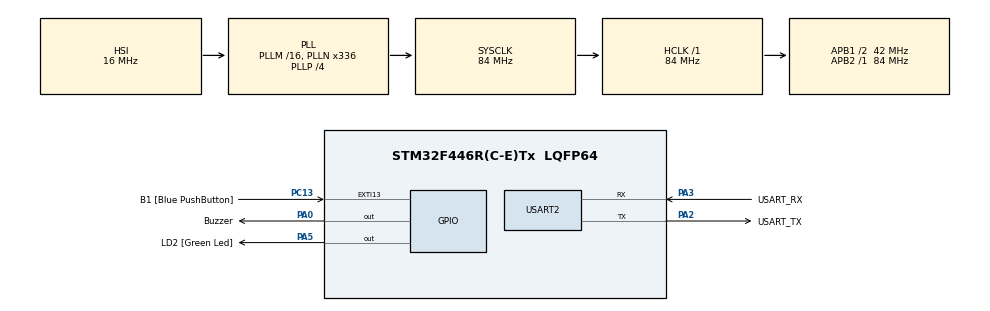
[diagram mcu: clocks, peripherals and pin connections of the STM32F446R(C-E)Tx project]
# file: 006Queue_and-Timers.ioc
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Mcu.Family=STM32F4
Mcu.Name=STM32F446R(C-E)Tx
Mcu.Package=LQFP64
NVIC.PriorityGroup=NVIC_PRIORITYGROUP_4
NVIC.TIM6_DAC_IRQn=true\:0\:0\:false\:false\:true\:false\:true
NVIC.TimeBase=TIM6_DAC_IRQn
NVIC.TimeBaseIP=TIM6
NVIC.USART2_IRQn=true\:6\:0\:true\:false\:true\:true\:true
PA0-WKUP.GPIO_Label=Buzzer
PA0-WKUP.Signal=GPIO_Output
PA13.GPIO_Label=TMS
PA13.Signal=SYS_JTMS-SWDIO
PA14.GPIO_Label=TCK
PA14.Signal=SYS_JTCK-SWCLK
PA2.GPIO_Label=USART_TX
PA2.Mode=Asynchronous
PA2.Signal=USART2_TX
PA3.GPIO_Label=USART_RX
PA3.Mode=Asynchronous
PA3.Signal=USART2_RX
PA5.GPIO_Label=LD2 [Green Led]
PA5.Signal=GPIO_Output
PB3.GPIO_Label=SWO
PB3.Signal=SYS_JTDO-SWO
PC13.GPIO_Label=B1 [Blue PushButton]
PC13.GPIO_ModeDefaultEXTI=GPIO_MODE_IT_FALLING
PC13.Signal=GPXTI13
PC14-OSC32_IN.Signal=RCC_OSC32_IN
PC15-OSC32_OUT.Signal=RCC_OSC32_OUT
PH0-OSC_IN.Signal=RCC_OSC_IN
PH1-OSC_OUT.Signal=RCC_OSC_OUT
ProjectManager.HeapSize=0x200
ProjectManager.StackSize=0x400
ProjectManager.TargetToolchain=STM32CubeIDE
RCC.AHBFreq_Value=84000000
RCC.APB1CLKDivider=RCC_HCLK_DIV2
RCC.APB1Freq_Value=42000000
RCC.APB1TimFreq_Value=84000000
RCC.APB2Freq_Value=84000000
RCC.APB2TimFreq_Value=84000000
RCC.CortexFreq_Value=84000000
RCC.FLatency-AdvancedSettings=FLASH_LATENCY_2
RCC.HCLKFreq_Value=84000000
RCC.HSE_VALUE=8000000
RCC.HSI_VALUE=16000000
RCC.LSE_VALUE=32768
RCC.PLLN=336
RCC.PLLP=RCC_PLLP_DIV4
RCC.SYSCLKFreq_VALUE=84000000
RCC.SYSCLKSource=RCC_SYSCLKSOURCE_PLLCLK
RCC.USBFreq_Value=168000000
RCC.VCOOutputFreq_Value=336000000
RTC.HourFormat=RTC_HOURFORMAT_12
USART2.VirtualMode=VM_ASYNC
VP_RTC_VS_RTC_Activate.Mode=RTC_Enabled
VP_SYS_VS_tim6.Mode=TIM6
board=NUCLEO-F446RE

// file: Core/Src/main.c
/* USER CODE BEGIN Header */
/**
  ******************************************************************************
  * @file           : main.c
  * @brief          : Main program body
  ******************************************************************************
  * @attention
  *
  * <h2><center>&copy; Copyright (c) 2021 STMicroelectronics.
  * All rights reserved.</center></h2>
  *
  * This software component is licensed by ST under BSD 3-Clause license,
  * the "License"; You may not use this file except in compliance with the
  * License. You may obtain a copy of the License at:
  *                        opensource.org/licenses/BSD-3-Clause
  *
  ******************************************************************************
  */
/* USER CODE END Header */
#include "main.h"

RTC_HandleTypeDef hrtc;

UART_HandleTypeDef huart2;

/* USER CODE BEGIN PV */
xTaskHandle handle_menu_task;
xTaskHandle handle_cmd_task;
xTaskHandle handle_print_task;
xTaskHandle handle_led_task;
xTaskHandle handle_rtc_task;

QueueHandle_t q_data;
QueueHandle_t q_print;

volatile uint8_t user_data;
uint8_t dummy;

TimerHandle_t handle_led_timer[4];

state_t curr_state = sMainMenu;
/* USER CODE END PV */

void SystemClock_Config(void);
static void MX_GPIO_Init(void);
static void MX_RTC_Init(void);
static void MX_USART2_UART_Init(void);

int main(void)
{
  /* USER CODE BEGIN 1 */
	BaseType_t status;

  /* USER CODE END 1 */

  /* MCU Configuration--------------------------------------------------------*/

  /* Reset of all peripherals, Initializes the Flash interface and the Systick. */
  HAL_Init();

  /* Configure the system clock */
  SystemClock_Config();

  /* Initialize all configured peripherals */
  MX_GPIO_Init();
  MX_RTC_Init();
  MX_USART2_UART_Init();
  /* USER CODE BEGIN 2 */

  	status = xTaskCreate(menu_task, "menu_task", 250, NULL, 2, &handle_menu_task);
	configASSERT(status == pdPASS);

	status = xTaskCreate(cmd_handler_task, "cmd_task", 250, NULL, 2, &handle_cmd_task);
	configASSERT(status == pdPASS);

	status = xTaskCreate(print_task, "print_task", 250, NULL, 2, &handle_print_task);
	configASSERT(status == pdPASS);

	status = xTaskCreate(led_task, "led_task", 250, NULL, 2, &handle_led_task);
	configASSERT(status == pdPASS);

	status = xTaskCreate(rtc_task, "rtc_task", 250, NULL, 2, &handle_rtc_task);
	configASSERT(status == pdPASS);

	q_data = xQueueCreate(10, sizeof(char));
	configASSERT(q_data != NULL);

	q_print = xQueueCreate(10, sizeof(size_t));
	configASSERT(q_print != NULL);

	for(int i=0;i<4;i++)
		handle_led_timer[i] = xTimerCreate("led_timer", pdMS_TO_TICKS(500+i*500), pdTRUE, (void*)(i+1), led_effect_callback);

	HAL_UART_Receive_IT(&huart2, (uint8_t*)&user_data, 1);

	vTaskStartScheduler();

  /* USER CODE END 2 */

  /* Infinite loop */
  while (1)
  {

  }
}

void SystemClock_Config(void)
{
  RCC_OscInitTypeDef RCC_OscInitStruct = {0};
  RCC_ClkInitTypeDef RCC_ClkInitStruct = {0};
  RCC_PeriphCLKInitTypeDef PeriphClkInitStruct = {0};

  /** Configure the main internal regulator output voltage
  */
  __HAL_RCC_PWR_CLK_ENABLE();
  __HAL_PWR_VOLTAGESCALING_CONFIG(PWR_REGULATOR_VOLTAGE_SCALE3);
  /** Initializes the RCC Oscillators according to the specified parameters
  * in the RCC_OscInitTypeDef structure.
  */
  RCC_OscInitStruct.OscillatorType = RCC_OSCILLATORTYPE_HSI|RCC_OSCILLATORTYPE_LSI;
  RCC_OscInitStruct.LSEState = RCC_LSE_OFF;
  RCC_OscInitStruct.HSIState = RCC_HSI_ON;
  RCC_OscInitStruct.HSICalibrationValue = RCC_HSICALIBRATION_DEFAULT;
  RCC_OscInitStruct.LSIState = RCC_LSI_ON;
  RCC_OscInitStruct.PLL.PLLState = RCC_PLL_ON;
  RCC_OscInitStruct.PLL.PLLSource = RCC_PLLSOURCE_HSI;
  RCC_OscInitStruct.PLL.PLLM = 16;
  RCC_OscInitStruct.PLL.PLLN = 336;
  RCC_OscInitStruct.PLL.PLLP = RCC_PLLP_DIV4;
  RCC_OscInitStruct.PLL.PLLQ = 2;
  RCC_OscInitStruct.PLL.PLLR = 2;
  if (HAL_RCC_OscConfig(&RCC_OscInitStruct) != HAL_OK)
  {
    Error_Handler();
  }
  /** Initializes the CPU, AHB and APB buses clocks
  */
  RCC_ClkInitStruct.ClockType = RCC_CLOCKTYPE_HCLK|RCC_CLOCKTYPE_SYSCLK
                              |RCC_CLOCKTYPE_PCLK1|RCC_CLOCKTYPE_PCLK2;
  RCC_ClkInitStruct.SYSCLKSource = RCC_SYSCLKSOURCE_PLLCLK;
  RCC_ClkInitStruct.AHBCLKDivider = RCC_SYSCLK_DIV1;
  RCC_ClkInitStruct.APB1CLKDivider = RCC_HCLK_DIV2;
  RCC_ClkInitStruct.APB2CLKDivider = RCC_HCLK_DIV1;

  if (HAL_RCC_ClockConfig(&RCC_ClkInitStruct, FLASH_LATENCY_2) != HAL_OK)
  {
    Error_Handler();
  }
  PeriphClkInitStruct.PeriphClockSelection = RCC_PERIPHCLK_RTC;
  PeriphClkInitStruct.RTCClockSelection = RCC_RTCCLKSOURCE_LSI;
  if (HAL_RCCEx_PeriphCLKConfig(&PeriphClkInitStruct) != HAL_OK)
  {
    Error_Handler();
  }
}

static void MX_RTC_Init(void)
{

  /** Initialize RTC Only
  */
  hrtc.Instance = RTC;
  hrtc.Init.HourFormat = RTC_HOURFORMAT_12;
  hrtc.Init.AsynchPrediv = 127;
  hrtc.Init.SynchPrediv = 255;
  hrtc.Init.OutPut = RTC_OUTPUT_DISABLE;
  hrtc.Init.OutPutPolarity = RTC_OUTPUT_POLARITY_HIGH;
  hrtc.Init.OutPutType = RTC_OUTPUT_TYPE_OPENDRAIN;
  if (HAL_RTC_Init(&hrtc) != HAL_OK)
  {
    Error_Handler();
  }

}

static void MX_USART2_UART_Init(void)
{

  huart2.Instance = USART2;
  huart2.Init.BaudRate = 115200;
  huart2.Init.WordLength = UART_WORDLENGTH_8B;
  huart2.Init.StopBits = UART_STOPBITS_1;
  huart2.Init.Parity = UART_PARITY_NONE;
  huart2.Init.Mode = UART_MODE_TX_RX;
  huart2.Init.HwFlowCtl = UART_HWCONTROL_NONE;
  huart2.Init.OverSampling = UART_OVERSAMPLING_16;
  if (HAL_UART_Init(&huart2) != HAL_OK)
  {
    Error_Handler();
  }

}

static void MX_GPIO_Init(void)
{
  GPIO_InitTypeDef GPIO_InitStruct = {0};

  /* GPIO Ports Clock Enable */
  __HAL_RCC_GPIOC_CLK_ENABLE();
  __HAL_RCC_GPIOH_CLK_ENABLE();
  __HAL_RCC_GPIOA_CLK_ENABLE();
  __HAL_RCC_GPIOB_CLK_ENABLE();

  /*Configure GPIO pin Output Level */
  HAL_GPIO_WritePin(GPIOA, Buzzer_Pin|LD2_Pin, GPIO_PIN_RESET);

  /*Configure GPIO pin : B1_Pin */
  GPIO_InitStruct.Pin = B1_Pin;
  GPIO_InitStruct.Mode = GPIO_MODE_IT_FALLING;
  GPIO_InitStruct.Pull = GPIO_NOPULL;
  HAL_GPIO_Init(B1_GPIO_Port, &GPIO_InitStruct);

  /*Configure GPIO pins : Buzzer_Pin LD2_Pin */
  GPIO_InitStruct.Pin = Buzzer_Pin|LD2_Pin;
  GPIO_InitStruct.Mode = GPIO_MODE_OUTPUT_PP;
  GPIO_InitStruct.Pull = GPIO_NOPULL;
  GPIO_InitStruct.Speed = GPIO_SPEED_FREQ_LOW;
  HAL_GPIO_Init(GPIOA, &GPIO_InitStruct);

}

/* USER CODE BEGIN 4 */

void led_effect_callback(TimerHandle_t xTimer){
	/*uint32_t ulCount;

	ulCount = ( uint32_t ) pvTimerGetTimerID( xTimer );

	switch(ulCount){
	case 1:
		LED_effect1();
		break;
	case 2:
			LED_effect2();
			break;
	case 3:
			LED_effect3();
			break;
	case 4:
			LED_effect4();
			break;
	}
	*/

	LED_effect();

}
void HAL_UART_RxCpltCallback(UART_HandleTypeDef *huart){

	if(!xQueueIsQueueFullFromISR(q_data)){

		xQueueSendFromISR(q_data, (void*)&user_data, NULL);

	}else{

		if(user_data == '\n'){
			xQueueReceiveFromISR(q_data, (void*)&dummy, NULL);
			xQueueSendFromISR(q_data, (void*)&user_data, NULL);
		}

	}

	if(user_data == '\n'){
		xTaskNotifyFromISR(handle_cmd_task, 0, eNoAction, NULL);
	}

	HAL_UART_Receive_IT(&huart2, (uint8_t*)&user_data, 1);
}

/* USER CODE END 4 */

void HAL_TIM_PeriodElapsedCallback(TIM_HandleTypeDef *htim)
{
  if (htim->Instance == TIM6) {
    HAL_IncTick();
  }
}

void Error_Handler(void)
{
}

/************************ (C) COPYRIGHT STMicroelectronics *****END OF FILE****/
